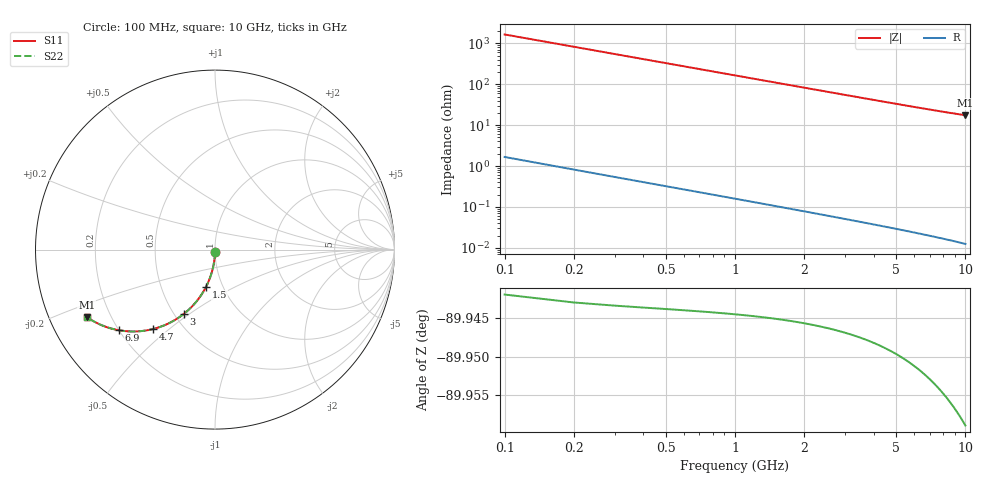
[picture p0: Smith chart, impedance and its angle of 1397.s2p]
# Hz S RI R 50.00
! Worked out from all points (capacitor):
!   100 points, 100 MHz to 10 GHz, reference 50 ohm
!   read as one part in shunt: C = 968 fF near 100 MHz
!   lowest |Z| = 17.4 ohm at 10 GHz (marker M1)
!   S11 on the Smith chart (normalised r, x): 100 MHz: 1.00, -0.03; 1.5 GHz: 0.83, -0.36; 3 GHz: 0.56, -0.48; 4.7 GHz: 0.34, -0.44; 6.9 GHz: 0.20, -0.35; 10 GHz: 0.11, -0.24
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1e8  -9.04e-05 -0.0145  0.9996 -0.0159  0.9996 -0.0159  -9.04e-05 -0.0145
2e8  -0.000796 -0.029  0.9989 -0.0318  0.9989 -0.0318  -0.000796 -0.029
3e8  -0.00196 -0.0435  0.9977 -0.0476  0.9977 -0.0476  -0.00196 -0.0435
4e8  -0.00358 -0.0579  0.9961 -0.0634  0.9961 -0.0634  -0.00358 -0.0579
5e8  -0.00566 -0.0722  0.994 -0.079  0.994 -0.079  -0.00566 -0.0722
6e8  -0.00818 -0.0864  0.9915 -0.0946  0.9915 -0.0946  -0.00818 -0.0864
7e8  -0.0111 -0.1005  0.9885 -0.1101  0.9885 -0.1101  -0.0111 -0.1005
9e8  -0.0184 -0.1283  0.9812 -0.1406  0.9812 -0.1406  -0.0184 -0.1283
1.2e9  -0.0323 -0.1686  0.9673 -0.185  0.9673 -0.185  -0.0323 -0.1686
1.5e9  -0.0496 -0.2069  0.9499 -0.2275  0.9499 -0.2275  -0.0496 -0.2069
1.8e9  -0.07 -0.2429  0.9293 -0.2676  0.9293 -0.2676  -0.07 -0.2429
2.4e9  -0.1184 -0.3066  0.8807 -0.3396  0.8807 -0.3396  -0.1184 -0.3066
3e9  -0.174 -0.3584  0.8248 -0.3998  0.8248 -0.3998  -0.174 -0.3584
3.4e9  -0.2135 -0.3862  0.7851 -0.4332  0.7851 -0.4332  -0.2135 -0.3862
4e9  -0.274 -0.4182  0.7242 -0.4737  0.7242 -0.4737  -0.274 -0.4182
4.7e9  -0.3438 -0.4422  0.6537 -0.5076  0.6537 -0.5076  -0.3438 -0.4422
5.1e9  -0.3824 -0.4502  0.6147 -0.5214  0.6147 -0.5214  -0.3824 -0.4502
5.9e9  -0.455 -0.4562  0.5412 -0.539  0.5412 -0.539  -0.455 -0.4562
6.7e9  -0.5203 -0.4517  0.4748 -0.5462  0.4748 -0.5462  -0.5203 -0.4517
6.9e9  -0.5355 -0.4493  0.4594 -0.5468  0.4594 -0.5468  -0.5355 -0.4493
8.4e9  -0.6343 -0.4199  0.3581 -0.5401  0.3581 -0.5401  -0.6343 -0.4199
1e10  -0.714 -0.3761  0.275 -0.5213  0.275 -0.5213  -0.714 -0.3761
